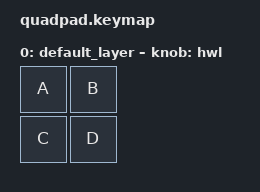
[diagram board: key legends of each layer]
#include <behaviors.dtsi>
#include <dt-bindings/zmk/keys.h>
#include <dt-bindings/zmk/mouse.h>

/ {
    behaviors {
        hwl: wheel_encoder {
            compatible = "zmk,behavior-sensor-rotate";
            #sensor-binding-cells = <0>;
            // マウススクロールを割り当て
            bindings = <&msc MS_WH_UP>, <&msc MS_WH_DN>;
            tap-ms = <20>;
        };
    };

    keymap {
        compatible = "zmk,keymap";
        default_layer {
            bindings = <
                &kp A    &kp B
                &kp C    &kp D
            >;

            sensor-bindings = <&hwl>;
        };
    };
};
